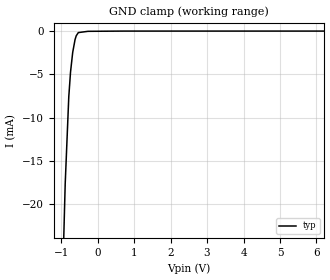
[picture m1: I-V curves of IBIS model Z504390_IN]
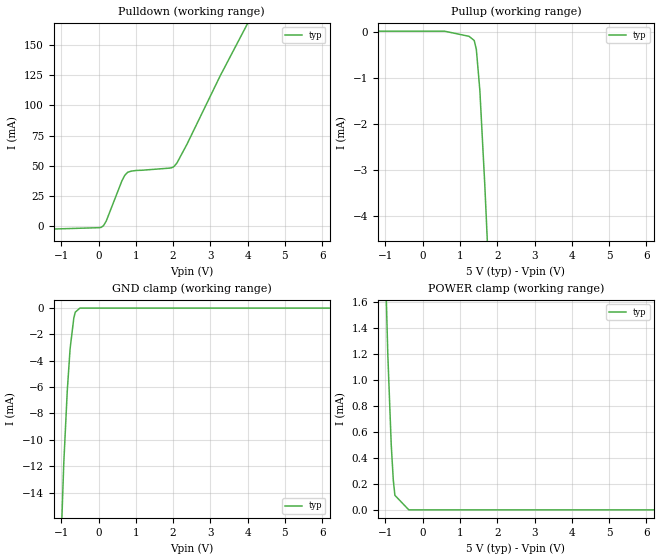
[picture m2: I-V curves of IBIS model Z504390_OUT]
| YOU ARE ONLY AUTHORIZED TO USE THIS SOFTWARE
| ACCORDING TO LICENSOR'S LICENSE RESTRICTIONS.
[IBIS Ver] 3.1
[File Name] sn54ls158j.ibs
[File Rev] 2.0
[Source] Measured and created by ICX Technology
[Date] Friday 7/14/00 9:08:13 AM
[Copyright]
| (C) COPYRIGHT 1993-2000
| MENTOR GRAPHICS CORPORATION
| ICX STANDARD LIBRARY, ICX PROJECT MODELING,
| ICX CUSTOM MODELING, ICX VENDOR MODEL
| ALL RIGHTS RESERVED.
| THE FOLLOWING ARE TRADEMARKS OR SERVICE MARKS OF
| MENTOR GRAPHICS CORPORATION:ICX (R), ICX STANDARD
| LIBRARY(R), ICX PROJECT MODELING(R), ICX CUSTOM
| MODELING(R), qualityIBIS(TM), MODELVIEWER(TM),
| AND MODELEDITOR(TM)
| ALL COPIES OF SOFTWARE, INCLUDING BUT NOT LIMITED TO
| ANY MODIFICATIONS, ENHANCEMENTS OR DERIVATIVE WORKS,
| MUST CONTAIN ALL MENTOR GRAPHICS CORPORATION'S
| NOTICES AND LEGENDS, INCLUDING THOSE EMBEDDED IN
| SOFTWARE AND THOSE AFFIXED TO SOFTWARE MEDIUM
| AND CONTAINER, AS RECEIVED FROM MENTOR GRAPHICS
| CORPORATION.
|  ZAP Model Builder 2.7
[Component] SN54LS158J
[Manufacturer] OnSemiconductor
[Package]
| variable   typ   min   max
R_pkg  .212ohms NA NA
L_pkg  4.758nH NA NA
C_pkg  1.944pF NA NA
[Pin] signal_name  model_name  R_pin  L_pin C_pin
1 B_A Z504390_IN .224 7.258n 2.683p
2 A0 Z504390_IN .216 5.258n 2.19p
3 B0 Z504390_IN .208 3.758n 1.697p
4 _Y0 Z504390_OUT .2 2.758n 1.204p
5 A1 Z504390_IN .2 2.758n 1.204p
6 B1 Z504390_IN .208 3.758n 1.697p
7 _Y1 Z504390_OUT .216 5.258n 2.19p
8 GND GND .224 7.258n 2.683p
9 _Y2 Z504390_OUT .224 7.258n 2.683p
10 B2 Z504390_IN .216 5.258n 2.19p
11 A2 Z504390_IN .208 3.758n 1.697p
12 _Y3 Z504390_OUT .2 2.758n 1.204p
13 B3 Z504390_IN .2 2.758n 1.204p
14 A3 Z504390_IN .208 3.758n 1.697p
15 _G Z504390_IN .216 5.258n 2.19p
16 VCC POWER .224 7.258n 2.683p
| Models and submodels in the file (2): Z504390_IN (Input), Z504390_OUT (Output)
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| (C) COPYRIGHT 1993-2000
| MENTOR GRAPHICS CORPORATION
| ICX STANDARD LIBRARY, ICX PROJECT MODELING,
| ICX CUSTOM MODELING, ICX VENDOR MODEL
| ALL RIGHTS RESERVED.
| THE FOLLOWING ARE TRADEMARKS OR SERVICE MARKS OF
| MENTOR GRAPHICS CORPORATION:ICX (R), ICX STANDARD
| LIBRARY(R), ICX PROJECT MODELING(R), ICX CUSTOM
| MODELING(R), qualityIBIS(TM), MODELVIEWER(TM),
| AND MODELEDITOR(TM)
| ALL COPIES OF SOFTWARE, INCLUDING BUT NOT LIMITED TO
| ANY MODIFICATIONS, ENHANCEMENTS OR DERIVATIVE WORKS,
| MUST CONTAIN ALL MENTOR GRAPHICS CORPORATION'S
| NOTICES AND LEGENDS, INCLUDING THOSE EMBEDDED IN
| SOFTWARE AND THOSE AFFIXED TO SOFTWARE MEDIUM
| AND CONTAINER, AS RECEIVED FROM MENTOR GRAPHICS
| CORPORATION.
| Model Application Version 1.89 2/18/99.
[Model] Z504390_IN
Model_type Input
Vinl = 800.0mV
Vinh = 2.000V
C_comp 4.000pF NA NA
| variable typ   min   max
[Voltage Range] 5.000V NA NA
[GND Clamp Reference] 0.000V NA NA
[POWER Clamp Reference] 5.000V NA NA
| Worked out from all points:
|   GND clamp passes 1 mA (typ) near -0.62 V on its own axis
[GND Clamp]
-5V       -662.5mA   NA         NA
-888.3mV  -17.7mA    NA         NA
-790mV    -7.601mA   NA         NA
-742.1mV  -4.732mA   NA         NA
-682.4mV  -2.449mA   NA         NA
-617.9mV  -967.4uA   NA         NA
-585.3mV  -527.1uA   NA         NA
-528.2mV  -160.6uA   NA         NA
-264.1mV  -13.33uA   NA         NA
724.1mV   14.32uA    NA         NA
10V       14.32uA    NA         NA
[POWER Clamp]
-5V       0A         NA         NA
10V       0A         NA         NA
| (C) COPYRIGHT 1993-2000
| MENTOR GRAPHICS CORPORATION
| ICX STANDARD LIBRARY, ICX PROJECT MODELING,
| ICX CUSTOM MODELING, ICX VENDOR MODEL
| ALL RIGHTS RESERVED.
| THE FOLLOWING ARE TRADEMARKS OR SERVICE MARKS OF
| MENTOR GRAPHICS CORPORATION:ICX (R), ICX STANDARD
| LIBRARY(R), ICX PROJECT MODELING(R), ICX CUSTOM
| MODELING(R), qualityIBIS(TM), MODELVIEWER(TM),
| AND MODELEDITOR(TM)
| ALL COPIES OF SOFTWARE, INCLUDING BUT NOT LIMITED TO
| ANY MODIFICATIONS, ENHANCEMENTS OR DERIVATIVE WORKS,
| MUST CONTAIN ALL MENTOR GRAPHICS CORPORATION'S
| NOTICES AND LEGENDS, INCLUDING THOSE EMBEDDED IN
| SOFTWARE AND THOSE AFFIXED TO SOFTWARE MEDIUM
| AND CONTAINER, AS RECEIVED FROM MENTOR GRAPHICS
| CORPORATION.
| Model Application Version 1.89 2/18/99.
[Model] Z504390_OUT
Model_type Output
Vref=5.000V
Rref=2.000kohms
Cref=15.00pF
Vmeas=1.300V
C_comp 8.000pF NA NA
| variable typ   min   max
[Voltage Range] 5.000V NA NA
[POWER Clamp Reference] 5.000V NA NA
[Pullup Reference] 5.000V NA NA
[Pulldown Reference] 0.000V NA NA
[GND Clamp Reference] 0.000V NA NA
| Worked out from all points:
|   slope of the pulldown table from 0 to 0.75 V, typ, clamps not added: 16.7 ohm
|   slope of the pullup table from 0 to 0.75 V, typ, clamps not added: 27 kohm
|   GND clamp passes 1 mA (typ) near -0.67 V on its own axis
|   POWER clamp passes 1 mA (typ) near -0.91 V on its own axis
[GND Clamp]
-5V       -545.7mA   NA         NA
-1.313V   -47.93mA   NA         NA
-1.118V   -27.06mA   NA         NA
-933mV    -11.78mA   NA         NA
-839.7mV  -6.308mA   NA         NA
-763.5mV  -3.091mA   NA         NA
-664mV    -762.4uA   NA         NA
-625mV    -314.2uA   NA         NA
-500mV    0A         NA         NA
10V       0A         NA         NA
[Pulldown]
-5V       -5.626mA   NA         NA
68.44mV   -776.9uA   NA         NA
131.7mV   589uA      NA         NA
205.1mV   4.313mA    NA         NA
625.2mV   37.53mA    NA         NA
703.1mV   42.18mA    NA         NA
779.3mV   44.72mA    NA         NA
1.953V    48.45mA    NA         NA
2.105V    52.49mA    NA         NA
2.371V    67.8mA     NA         NA
3.262V    124.3mA    NA         NA
10V       520.9mA    NA         NA
[Pullup]
-5V       11.95uA    NA         NA
586mV     11.95uA    NA         NA
1.241V    -99.04uA   NA         NA
1.382V    -188.9uA   NA         NA
1.439V    -382.9uA   NA         NA
1.533V    -1.266mA   NA         NA
1.668V    -3.352mA   NA         NA
10V       -153.1mA   NA         NA
[POWER Clamp]
-5V       50.92mA    NA         NA
-1.064V   2.548mA    NA         NA
-937mV    1.192mA    NA         NA
-845mV    499uA      NA         NA
-790mV    229.7uA    NA         NA
-747mV    111.5uA    NA         NA
-373.5mV  0A         NA         NA
10V       0A         NA         NA
[Ramp]
| variable typ min max
dV/dt_r 1.842/9.297n NA NA
dV/dt_f 1.842/1.504n NA NA
R_load = 500.0Ohms
